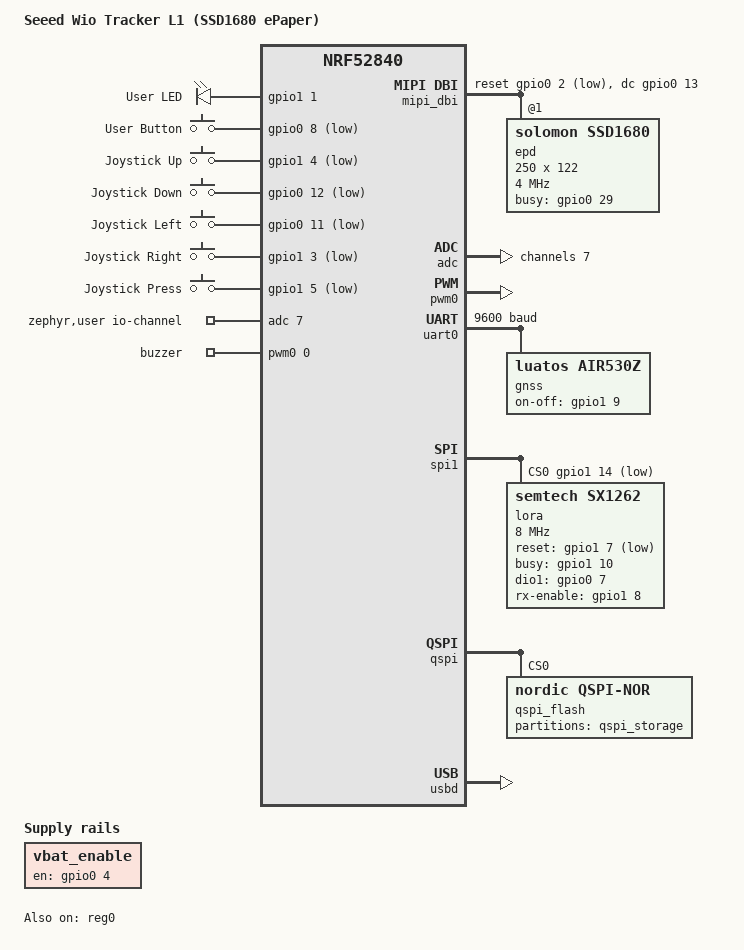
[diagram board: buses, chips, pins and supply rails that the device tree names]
/*
 * Seeed Wio Tracker L1 - nRF52840 + SX1262 + SSD1680 ePaper Display
 * Copyright (c) 2025 ZephCore
 *
 * SPDX-License-Identifier: Apache-2.0
 *
 * Hardware:
 * - nRF52840 SoC with BLE
 * - SX1262 LoRa radio (DIO2 as RF switch, TCXO 1.8V)
 * - P25Q16H 2MB QSPI flash
 * - SSD1680 2.13" monochrome e-paper display (SPI on 24-pin FPC connector)
 * - L76KB GPS module
 * - Joystick + user button
 * - Battery voltage ADC
 */

/dts-v1/;
#include <nordic/nrf52840_qiaa.dtsi>
#include <nordic/nrf52840_partition.dtsi>
#include <zephyr/dt-bindings/lora/sx126x.h>
#include <zephyr/dt-bindings/adc/nrf-saadc.h>
#include <zephyr/dt-bindings/input/input-event-codes.h>
#include <zephyr/dt-bindings/pwm/pwm.h>
#include "wio_tracker_l1_epaper_nrf52840-pinctrl.dtsi"

/* Delete default partitions from nrf52840_partition.dtsi */
/delete-node/ &boot_partition;
/delete-node/ &slot0_partition;
/delete-node/ &slot1_partition;
/delete-node/ &storage_partition;

/ {
	model = "Seeed Wio Tracker L1 (SSD1680 ePaper)";
	compatible = "seeed,wio-tracker-l1-epaper";

	chosen {
		zephyr,code-partition = &code_partition;
		zephyr,console = &cdc_acm_uart;
		zephyr,shell-uart = &cdc_acm_uart;
		zephyr,display = &epd;
	};

	leds {
		compatible = "gpio-leds";

		user_led: led_0 {
			gpios = <&gpio1 1 GPIO_ACTIVE_HIGH>;
			label = "User LED";
		};
	};

	buttons: buttons {
		compatible = "gpio-keys";

		user_button: button_0 {
			gpios = <&gpio0 8 (GPIO_PULL_UP | GPIO_ACTIVE_LOW)>;
			zephyr,code = <INPUT_KEY_0>;
			label = "User Button";
		};

		joystick_up: button_1 {
			gpios = <&gpio1 4 (GPIO_PULL_UP | GPIO_ACTIVE_LOW)>;
			zephyr,code = <INPUT_KEY_UP>;
			label = "Joystick Up";
		};

		joystick_down: button_2 {
			gpios = <&gpio0 12 (GPIO_PULL_UP | GPIO_ACTIVE_LOW)>;
			zephyr,code = <INPUT_KEY_DOWN>;
			label = "Joystick Down";
		};

		joystick_left: button_3 {
			gpios = <&gpio0 11 (GPIO_PULL_UP | GPIO_ACTIVE_LOW)>;
			zephyr,code = <INPUT_KEY_LEFT>;
			label = "Joystick Left";
		};

		joystick_right: button_4 {
			gpios = <&gpio1 3 (GPIO_PULL_UP | GPIO_ACTIVE_LOW)>;
			zephyr,code = <INPUT_KEY_RIGHT>;
			label = "Joystick Right";
		};

		joystick_press: button_5 {
			gpios = <&gpio1 5 (GPIO_PULL_UP | GPIO_ACTIVE_LOW)>;
			zephyr,code = <INPUT_KEY_ENTER>;
			label = "Joystick Press";
		};
	};

	user_btn_longpress {
		compatible = "zephyr,input-longpress";
		input = <&buttons>;
		input-codes = <INPUT_KEY_0>;
		short-codes = <INPUT_KEY_A>;
		long-codes = <INPUT_KEY_POWER>;
		long-delay-ms = <1000>;
	};

	user_btn_multitap {
		compatible = "zephcore,input-multi-tap";
		input-codes = <INPUT_KEY_A>;
		tap-codes = <INPUT_KEY_1 INPUT_KEY_B INPUT_KEY_D INPUT_KEY_C INPUT_KEY_E>;
		tap-delay-ms = <400>;
	};

	vbat_enable: vbat-enable {
		compatible = "regulator-fixed";
		regulator-name = "vbat-enable";
		enable-gpios = <&gpio0 4 GPIO_ACTIVE_HIGH>;
	};

	/* NOTE: E-Ink FPC connector power is always-on; no software power gate needed */

	zephyr,user {
		io-channels = <&adc 7>;
		vbat-mv-multiplier = <7200>;
	};

	pwmbuzzer {
		compatible = "pwm-leds";
		buzzer: buzzer {
			pwms = <&pwm0 0 PWM_MSEC(20) PWM_POLARITY_NORMAL>;
		};
	};

	/* ---- E-Paper display (MIPI DBI SPI) ----
	 * Solomon Systech SSD1680 2.13" 250x122 monochrome EPD on SPI1.
	 * Pin assignments confirmed from Wio_Tracker_L1_Pro_SCH_PDF schematic:
	 * SCK=P0.30 (B9), MOSI=P0.28 (B11), BUSY=P0.29 (A10) - shared SPI1 bus
	 * CS=P0.14 (AC9), DC=P0.13 (AD8), RESET=P0.02 (A12), BUSY=P0.29 (A10).
	 */
	mipi_dbi {
		compatible = "zephyr,mipi-dbi-spi";
		spi-dev = <&spi1>;
		dc-gpios = <&gpio0 13 GPIO_ACTIVE_HIGH>;
		reset-gpios = <&gpio0 2 GPIO_ACTIVE_LOW>;
		#address-cells = <1>;
		#size-cells = <0>;

		epd: ssd16xxfb@1 {
			compatible = "solomon,ssd1680";
			mipi-max-frequency = <4000000>;
			reg = <1>;
			width = <250>;
			height = <122>;
			rotation = <270>;
			busy-gpios = <&gpio0 29 (GPIO_PULL_DOWN | GPIO_ACTIVE_HIGH)>;

			full    { border-waveform = <0x05>; };
			partial { border-waveform = <0x3c>; };
		};
	};

	aliases {
		led0 = &user_led;
		sw0 = &user_button;
		lora0 = &lora;
		watchdog0 = &wdt0;
		buzzer = &buzzer;
	};
};

&reg0 {
	status = "okay";
};

&reg1 {
	regulator-initial-mode = <NRF5X_REG_MODE_DCDC>;
};

&adc {
	status = "okay";
	#address-cells = <1>;
	#size-cells = <0>;

	channel@7 {
		reg = <7>;
		zephyr,gain = "ADC_GAIN_1_6";
		zephyr,reference = "ADC_REF_INTERNAL";
		zephyr,acquisition-time = <ADC_ACQ_TIME(ADC_ACQ_TIME_MICROSECONDS, 10)>;
		zephyr,input-positive = <NRF_SAADC_AIN7>;
		zephyr,resolution = <12>;
	};
};

&uicr {
	nfct-pins-as-gpios;
};

&gpiote {
	status = "okay";
};

&gpio0 {
	status = "okay";
};

&gpio1 {
	status = "okay";
};

&pwm0 {
	status = "okay";
	pinctrl-0 = <&pwm0_default>;
	pinctrl-1 = <&pwm0_sleep>;
	pinctrl-names = "default", "sleep";
};

&uart0 {
	compatible = "nordic,nrf-uarte";
	status = "okay";
	current-speed = <9600>;
	pinctrl-0 = <&uart0_default>;
	pinctrl-1 = <&uart0_sleep>;
	pinctrl-names = "default", "sleep";

	gnss: gnss {
		compatible = "luatos,air530z";
		on-off-gpios = <&gpio1 9 GPIO_ACTIVE_HIGH>;
	};
};

/* I2C0 disabled — SPIM0/TWIM0 share the same peripheral instance on nRF52840 */
&i2c0 {
	status = "disabled";
};

&i2c1 {
	status = "disabled";
	pinctrl-0 = <&i2c1_default>;
	pinctrl-1 = <&i2c1_sleep>;
	pinctrl-names = "default", "sleep";
};

/* SPI1 for LoRa SX1262 and EPD */
&spi1 {
	compatible = "nordic,nrf-spim";
	status = "okay";
	cs-gpios = <&gpio1 14 GPIO_ACTIVE_LOW>, <&gpio0 14 GPIO_ACTIVE_LOW>;
	pinctrl-0 = <&spi1_default>;
	pinctrl-1 = <&spi1_sleep>;
	pinctrl-names = "default", "sleep";

	lora: lora@0 {
		compatible = "semtech,sx1262";
		reg = <0>;
		reset-gpios = <&gpio1 7 GPIO_ACTIVE_LOW>;
		busy-gpios = <&gpio1 10 GPIO_ACTIVE_HIGH>;
		dio1-gpios = <&gpio0 7 (GPIO_PULL_DOWN | GPIO_ACTIVE_HIGH)>;
		rx-enable-gpios = <&gpio1 8 GPIO_ACTIVE_HIGH>;
		dio2-tx-enable;
		dio3-tcxo-voltage = <SX126X_DIO3_TCXO_1V8>;
		tcxo-power-startup-delay-ms = <5>;
		spi-max-frequency = <8000000>;
		rx-boosted;
	};
};

&qspi {
	status = "okay";
	pinctrl-0 = <&qspi_default>;
	pinctrl-1 = <&qspi_sleep>;
	pinctrl-names = "default", "sleep";

	qspi_flash: qspi_flash@0 {
		compatible = "nordic,qspi-nor";
		reg = <0>;
		writeoc = "pp";
		readoc = "fastread";
		sck-frequency = <16000000>;
		jedec-id = [85 60 15];
		sfdp-bfp = [
			e5 20 f1 ff  ff ff ff 01  44 eb 08 6b  08 3b 04 bb
			ee ff ff ff  ff ff 00 ff  ff ff 00 ff  0c 20 0f 52
			10 d8 00 ff
		];
		size = <16777216>;
		has-dpd;
		t-enter-dpd = <3000>;
		t-exit-dpd = <50000>;
	};
};

zephyr_udc0: &usbd {
	compatible = "nordic,nrf-usbd";
	status = "okay";

	cdc_acm_uart: cdc_acm_uart {
		compatible = "zephyr,cdc-acm-uart";
	};
};

#include "../../common/nrf52_partitions_sdv7.dtsi"

&qspi_flash {
	partitions {
		compatible = "fixed-partitions";
		#address-cells = <1>;
		#size-cells = <1>;

		qspi_storage_partition: partition@0 {
			label = "qspi_storage";
			reg = <0x00000000 0x00200000>;
		};
	};
};
#include "../../common/nrf52_wakeup.dtsi"
